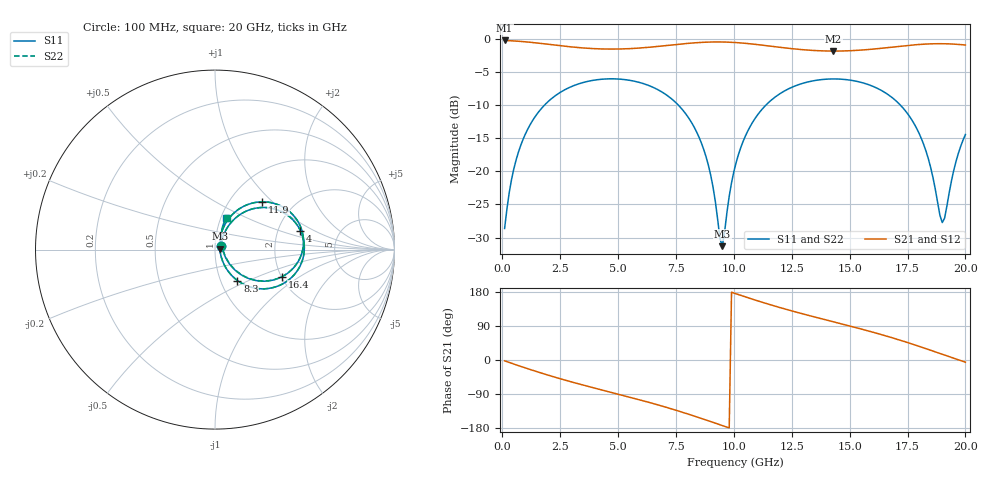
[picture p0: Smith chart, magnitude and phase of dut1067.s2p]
! Touchstone file exported from HFSS 2026.1.0
!  File:  C:/ffzhzh/LocalFiles/Ansys_Project_Files/temp_train_TSV_RDL_1067_1783298953_5512.aedt
!  Generated:  08:59:58 AM Jul  6, 2026
!  Design:  TSV_RDL
!  Project:  temp_train_TSV_RDL_1067_1783298953_5512
! Variables:
!  h_bsmrdl = 2.86um
!  h_ox = 20um
!  h_rdl = 5um
!  h_sub = 84.31um
!  h_tmrdl = 4.87um
!  h_tsv = 84.31um
!  h_via = 3um
!  l_bsmrdl = 735.28um
!  l_sub = 5771.75um
!  l_tmrdl = 767.08um
!  m_sub = 200um
!  pitch = 43.6um
!  r_tsv = 14.89um
!  s_tmrdl = 10um
!  w_bsmrdl = 18.04um
!  w_sub = 500um
!  w_tmrdl = 14.49um
!  x_tsv_center1 = 774.325um
!  x_tsv_center2 = 1527.645um
!  x_tsv_center3 = 2309.215um
!  x_tsv_center4 = 3062.535um
!  x_tsv_center5 = 3844.105um
!  x_tsv_center6 = 4597.425um
# GHz S MA R 50.000000
! Terminal data exported
! Port[1] = TM_RDL1_1_T1
! Port[2] = TM_RDL5_1_T1
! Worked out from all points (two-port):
!   200 points, 100 MHz to 20 GHz, reference 50 ohm
!   highest |S21| = -0.27 dB at 100 MHz (marker M1); lowest = -1.9 dB at 14.3 GHz (marker M2)
!   |S21| within 3 dB of the highest: start of sweep to end of sweep
!   lowest |S11| = -31.3 dB at 9.5 GHz (marker M3), VSWR 1.06, Z = 52.7 + j0.567 ohm
!   |S11| at or under -10 dB: start of sweep to 1.831 GHz; 7.596 GHz to 11.39 GHz (3.797 GHz wide, 40 % of centre); 17.18 GHz to end of sweep
!   |S22| runs from -31.3 to -6.1 dB; largest |S21 - S12| = 1.6e-14
!   S11 on the Smith chart (normalised r, x): 100 MHz: 1.06, +0.04; 4 GHz: 2.67, +0.74; 8.3 GHz: 1.20, -0.43; 11.9 GHz: 1.40, +0.87; 16.4 GHz: 2.03, -0.73; 20 GHz: 1.06, +0.39
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0.1  0.03701 32.2  0.9692 -2.2  0.9692 -2.2  0.03701 32.2
! Gamma 0 0 0 0
! Port Impedance 50 0 50 0
0.5  0.1046 60.3  0.9612 -10.7  0.9612 -10.7  0.1046 60.4
1.2  0.224 55.9  0.9393 -25.0  0.9393 -25.0  0.224 55.9
2.2  0.3615 40.5  0.8974 -44.0  0.8974 -44.0  0.3614 40.5
3.5  0.4673 20.1  0.8506 -66.3  0.8506 -66.3  0.4673 20.1
4  0.4874 12.5  0.8401 -74.3  0.8401 -74.3  0.4874 12.5
5.4  0.4881 -8.4  0.8394 -96.4  0.8394 -96.4  0.4881 -8.3
6.8  0.405 -30.1  0.8766 -119.8  0.8766 -119.8  0.405 -30.1
8.3  0.2129 -54.0  0.9298 -148.1  0.9298 -148.1  0.2129 -54.0
8.9  0.111 -59.1  0.9421 -160.4  0.9421 -160.4  0.111 -59.0
9.5  0.02721 11.4  0.9439 -172.9  0.9439 -172.9  0.02722 11.4
10.1  0.1165 69.2  0.9342 174.6  0.9342 174.6  0.1165 69.3
10.8  0.2324 62.4  0.9112 160.5  0.9112 160.5  0.2324 62.4
11.9  0.3753 45.2  0.8642 140.0  0.8642 140.0  0.3752 45.2
13.4  0.4799 22.3  0.8154 114.9  0.8154 114.9  0.4799 22.4
14.3  0.4968 9.2  0.8061 100.8  0.8061 100.8  0.4967 9.3
16.4  0.4043 -21.8  0.8473 66.5  0.8473 66.5  0.4044 -21.6
16.7  0.3744 -26.4  0.8584 61.2  0.8584 61.2  0.3744 -26.2
18.1  0.1761 -45.2  0.9064 34.0  0.9064 34.0  0.1765 -44.6
19  0.04101 9.4  0.916 15.1  0.916 15.1  0.04298 9.7
19.6  0.1195 71.1  0.9074 2.5  0.9074 2.5  0.1202 70.2
20  0.1892 70.8  0.8957 -5.8  0.8957 -5.8  0.1896 70.2
